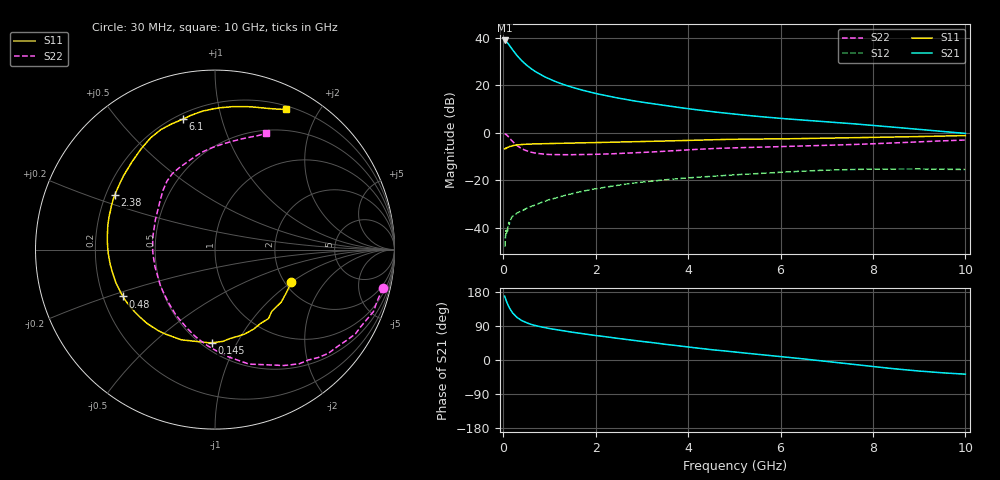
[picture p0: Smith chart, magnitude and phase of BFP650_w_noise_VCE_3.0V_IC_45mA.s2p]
! Infineon Technologies  Discrete & RF Semiconductors
! BFP650
! VCE =  3.0 V,  IC =  45 mA
! Common Emitter S-Parameters:  Jan 2016
# GHz  S  MA  R  50
!  f  S11  S21  S12  S22
! GHz  MAG  ANG  MAG  ANG  MAG  ANG  MAG  ANG
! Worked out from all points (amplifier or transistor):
!   229 points, 30 MHz to 10 GHz, reference 50 ohm
!   highest |S21| = 38.9 dB at 30 MHz (marker M1)
!   |S21| within 3 dB of that: start of sweep to 167.8 MHz
!   unconditionally stable (mu >= 1): 1.925 GHz to end of sweep
!   at 280 MHz: K = 0.43, MSG = 33.6 dB, |S12| = -34.2 dB
!   at 1.78 GHz: K = 0.99, MSG = 21.0 dB, |S12| = -24.4 dB
!   at 10 GHz: K = 1.03, MAG = 6.5 dB, |S12| = -15.4 dB
!   lowest NFmin = 0.91 dB at 450 MHz
!   S11 on the Smith chart (normalised r, x): 30 MHz: 2.17, -1.00; 145 MHz: 0.56, -0.80; 480 MHz: 0.28, -0.22; 2.38 GHz: 0.24, +0.24; 6.1 GHz: 0.23, +0.76; 10 GHz: 0.24, +1.60
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0.03  0.4628 -23.1  88.48 168.6  0.0041 88.9  0.9599 -12.9
0.05  0.4708 -38.3  85.89 161.3  0.0069 95.1  0.9478 -21.4
0.06  0.4676 -47.5  85.19 158.3  0.0088 40.9  0.9185 -27.9
0.08  0.4835 -58.4  81.3 151.8  0.0075 70.1  0.8906 -34.6
0.11  0.4997 -75.8  75.02 143.4  0.0114 61.0  0.8318 -46.3
0.145  0.5183 -91.8  67.28 135.2  0.0135 62.3  0.7599 -57.9
0.2  0.5366 -110.5  56.7 124.7  0.0177 54.3  0.6657 -73.4
0.26  0.551 -124.8  47.5 116.6  0.0186 54.5  0.5815 -86.4
0.3  0.5588 -132.4  42.42 112.2  0.0204 52.3  0.5389 -94.1
0.4  0.5693 -145.6  33.15 104.1  0.0225 50.0  0.4653 -109.4
0.48  0.5751 -153.0  28.11 99.5  0.025 50.3  0.4286 -119.3
0.7  0.585 -166.8  19.44 90.7  0.0307 52.4  0.3743 -140.0
0.9  0.5917 -174.9  15.13 85.4  0.0361 53.1  0.3542 -153.3
1.22  0.602 175.4  11.17 78.4  0.0448 52.1  0.3461 -168.6
1.7  0.6163 164.3  7.993 69.8  0.0584 50.9  0.3487 175.4
2.38  0.636 151.4  5.658 58.7  0.0762 45.5  0.3632 158.5
3.4  0.6686 134.9  3.887 43.2  0.1005 35.2  0.4046 139.7
5.1  0.7345 113.2  2.427 20.0  0.1323 18.9  0.4873 118.2
6.1  0.7488 103.7  1.984 7.9  0.1496 9.8  0.5165 106.2
6.8  0.7681 97.1  1.772 -1.0  0.161 2.2  0.5402 99.4
8.4  0.8156 77.6  1.33 -22.4  0.1731 -15.3  0.6098 81.2
10  0.8762 63.1  0.976 -37.4  0.1692 -27.7  0.7063 66.5
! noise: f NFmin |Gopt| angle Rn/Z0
0.45  0.91  0.13  169  1.13
0.9  0.93  0.39  -168  0.06
1.9  1.08  0.43  -154  0.06
2.4  1.16  0.42  -145  0.07
3.5  1.37  0.44  -121  0.13
